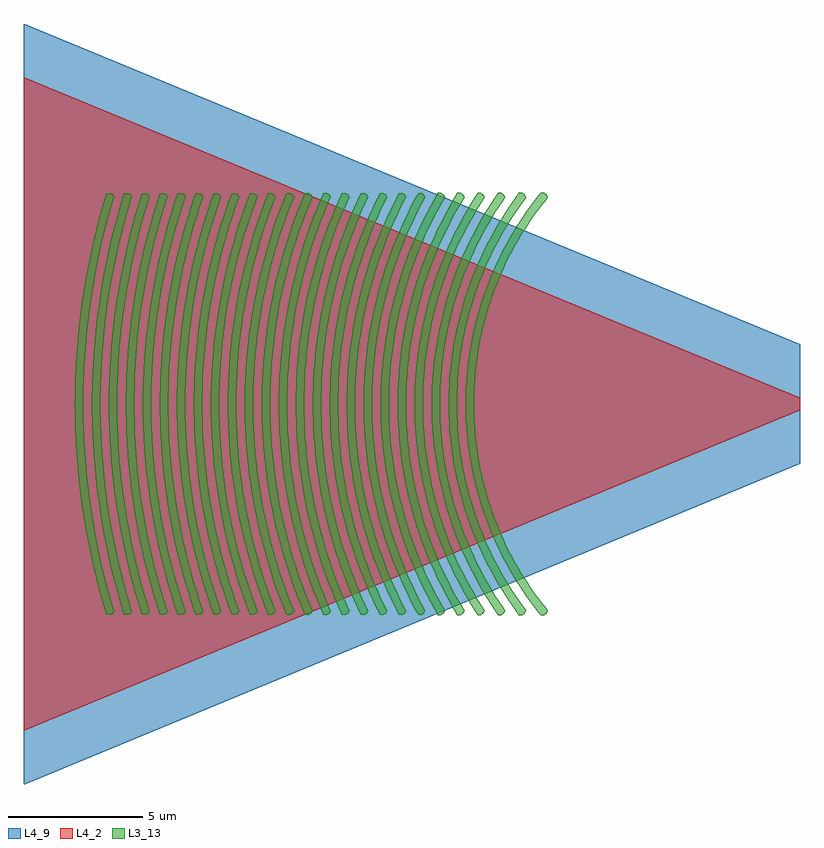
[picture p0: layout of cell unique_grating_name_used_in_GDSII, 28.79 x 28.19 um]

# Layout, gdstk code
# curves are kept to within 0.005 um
import gdstk
lib = gdstk.Library(unit=1e-6, precision=5e-09)
def P(c, l, *ps):  # polygons
    for p in ps: c.add(gdstk.Polygon(p, *l))
L3_13 = (3, 13)
L4_2 = (4, 2)
L4_9 = (4, 9)

unique_grating_name_used = lib.new_cell('unique_grating_name_used_in_GDSII_socket')
P(unique_grating_name_used, L4_2, [(20,-0.225),(20,0.225),(-8.74,12.095),(-8.79,12.095),(-8.79,-12.095),(-8.74,-12.095)])
P(unique_grating_name_used, L4_9, [(20,-2.225),(20,-0.225),(20,0.225),(20,2.225),(-8.74,14.095),(-8.79,14.095),(-8.79,12.095),(-8.79,-12.095),(-8.79,-14.095),(-8.74,-14.095)])

c_unique_grating_name_used = lib.new_cell('unique_grating_name_used_in_GDSII_grating')
P(c_unique_grating_name_used, L3_13, [(10.6,7.76),(10.635,7.65),(10.375,7.32),(10.125,6.985),(9.89,6.635),(9.665,6.28),(9.455,5.92),(9.255,5.55),(9.07,5.175),(8.815,4.6),(8.59,4.01),(8.46,3.615),(8.34,3.21),(8.235,2.805),(8.105,2.19),(8.01,1.57),(7.96,1.15),(7.93,0.735),(7.91,0.315),(7.91,-0.315),(7.93,-0.735),(7.96,-1.15),(8.01,-1.57),(8.105,-2.19),(8.235,-2.805),(8.34,-3.21),(8.46,-3.615),(8.59,-4.01),(8.815,-4.6),(9.07,-5.175),(9.255,-5.55),(9.455,-5.92),(9.665,-6.28),(9.89,-6.635),(10.125,-6.985),(10.375,-7.32),(10.635,-7.65),(10.6,-7.76),(10.505,-7.835),(10.39,-7.85),(9.995,-7.34),(9.75,-6.99),(9.51,-6.63),(9.18,-6.075),(9.075,-5.885),(8.88,-5.505),(8.695,-5.115),(8.445,-4.52),(8.225,-3.915),(8.095,-3.5),(7.93,-2.88),(7.84,-2.46),(7.725,-1.82),(7.67,-1.395),(7.615,-0.755),(7.595,-0.325),(7.595,0.325),(7.615,0.755),(7.67,1.395),(7.725,1.82),(7.84,2.46),(7.93,2.88),(8.095,3.5),(8.295,4.115),(8.525,4.72),(8.785,5.31),(9.075,5.885),(9.18,6.075),(9.51,6.63),(9.75,6.99),(9.995,7.34),(10.39,7.85),(10.505,7.835)],
  [(9.795,7.765),(9.84,7.655),(9.45,7.115),(9.21,6.74),(8.98,6.36),(8.665,5.775),(8.375,5.175),(8.12,4.56),(7.97,4.14),(7.835,3.72),(7.71,3.29),(7.555,2.645),(7.47,2.21),(7.4,1.77),(7.345,1.33),(7.295,0.665),(7.28,0.22),(7.28,-0.22),(7.295,-0.665),(7.325,-1.11),(7.37,-1.55),(7.47,-2.21),(7.555,-2.645),(7.655,-3.075),(7.77,-3.505),(7.9,-3.93),(8.12,-4.56),(8.375,-5.175),(8.565,-5.575),(8.87,-6.165),(9.21,-6.74),(9.45,-7.115),(9.84,-7.655),(9.795,-7.765),(9.7,-7.835),(9.585,-7.845),(9.19,-7.29),(8.945,-6.91),(8.595,-6.32),(8.385,-5.92),(8.185,-5.51),(7.91,-4.885),(7.75,-4.46),(7.6,-4.03),(7.465,-3.595),(7.35,-3.155),(7.245,-2.71),(7.16,-2.265),(7.06,-1.59),(7.01,-1.135),(6.97,-0.455),(6.96,0),(6.97,0.455),(7.01,1.135),(7.06,1.59),(7.16,2.265),(7.245,2.71),(7.405,3.375),(7.53,3.81),(7.75,4.46),(7.91,4.885),(8.28,5.715),(8.595,6.32),(8.945,6.91),(9.19,7.29),(9.585,7.845),(9.7,7.835)],
  [(9.015,7.765),(9.065,7.66),(8.805,7.28),(8.56,6.89),(8.22,6.29),(8.01,5.88),(7.815,5.465),(7.635,5.04),(7.47,4.615),(7.32,4.18),(7.18,3.74),(7.06,3.3),(6.955,2.85),(6.825,2.175),(6.76,1.72),(6.705,1.26),(6.67,0.805),(6.65,0.345),(6.65,-0.345),(6.67,-0.805),(6.73,-1.49),(6.79,-1.945),(6.865,-2.4),(6.955,-2.85),(7.06,-3.3),(7.18,-3.74),(7.39,-4.395),(7.55,-4.83),(7.815,-5.465),(8.01,-5.88),(8.33,-6.49),(8.68,-7.085),(9.065,-7.66),(9.015,-7.765),(8.92,-7.835),(8.805,-7.84),(8.54,-7.45),(8.29,-7.05),(8.055,-6.645),(7.73,-6.02),(7.53,-5.595),(7.255,-4.945),(7.02,-4.28),(6.88,-3.83),(6.755,-3.375),(6.6,-2.685),(6.515,-2.225),(6.445,-1.76),(6.355,-0.825),(6.335,-0.355),(6.335,0.355),(6.355,0.825),(6.395,1.29),(6.445,1.76),(6.555,2.455),(6.7,3.145),(6.815,3.605),(7.02,4.28),(7.175,4.725),(7.255,4.945),(7.435,5.38),(7.73,6.02),(8.055,6.645),(8.29,7.05),(8.54,7.45),(8.805,7.84),(8.92,7.835)],
  [(8.255,7.77),(8.305,7.665),(8.045,7.255),(7.8,6.835),(7.465,6.195),(7.255,5.755),(6.975,5.085),(6.805,4.63),(6.655,4.175),(6.455,3.475),(6.345,3.005),(6.205,2.29),(6.135,1.81),(6.08,1.33),(6.06,1.09),(6.02,0.365),(6.02,-0.365),(6.03,-0.605),(6.06,-1.09),(6.105,-1.57),(6.205,-2.29),(6.345,-3.005),(6.455,-3.475),(6.655,-4.175),(6.805,-4.63),(6.975,-5.085),(7.255,-5.755),(7.465,-6.195),(7.8,-6.835),(8.045,-7.255),(8.305,-7.665),(8.255,-7.77),(8.155,-7.835),(8.04,-7.835),(7.775,-7.42),(7.41,-6.775),(7.18,-6.335),(6.97,-5.885),(6.68,-5.2),(6.51,-4.735),(6.28,-4.03),(6.15,-3.55),(6.035,-3.07),(5.985,-2.83),(5.855,-2.095),(5.765,-1.36),(5.745,-1.115),(5.705,-0.37),(5.705,0.37),(5.715,0.62),(5.765,1.36),(5.855,2.095),(5.985,2.83),(6.09,3.31),(6.28,4.03),(6.51,4.735),(6.68,5.2),(6.97,5.885),(7.18,6.335),(7.41,6.775),(7.65,7.205),(7.775,7.42),(8.04,7.835),(8.155,7.835)],
  [(7.51,7.77),(7.56,7.67),(7.305,7.235),(7.06,6.79),(6.725,6.11),(6.525,5.65),(6.335,5.18),(6.165,4.705),(6.085,4.47),(5.94,3.985),(5.81,3.495),(5.7,3.005),(5.605,2.51),(5.525,2.01),(5.465,1.51),(5.42,1.01),(5.395,0.505),(5.39,0.25),(5.39,-0.25),(5.405,-0.755),(5.42,-1.01),(5.465,-1.51),(5.525,-2.01),(5.605,-2.51),(5.7,-3.005),(5.81,-3.495),(5.94,-3.985),(6.085,-4.47),(6.335,-5.18),(6.525,-5.65),(6.725,-6.11),(7.06,-6.79),(7.18,-7.015),(7.56,-7.67),(7.51,-7.77),(7.405,-7.83),(7.29,-7.83),(7.03,-7.39),(6.78,-6.935),(6.44,-6.245),(6.135,-5.535),(5.87,-4.81),(5.71,-4.32),(5.57,-3.82),(5.445,-3.32),(5.34,-2.815),(5.25,-2.31),(5.15,-1.545),(5.08,-0.515),(5.07,0),(5.08,0.515),(5.15,1.545),(5.25,2.31),(5.34,2.815),(5.445,3.32),(5.57,3.82),(5.785,4.565),(6.135,5.535),(6.44,6.245),(6.78,6.935),(7.03,7.39),(7.29,7.83),(7.405,7.83)],
  [(6.775,7.77),(6.83,7.67),(6.57,7.21),(6.33,6.74),(6.105,6.265),(5.895,5.78),(5.705,5.29),(5.53,4.795),(5.3,4.035),(5.11,3.27),(4.92,2.23),(4.825,1.445),(4.805,1.185),(4.77,0.66),(4.76,0.13),(4.77,-0.66),(4.825,-1.445),(4.92,-2.23),(5.11,-3.27),(5.3,-4.035),(5.45,-4.54),(5.615,-5.04),(5.895,-5.78),(6.105,-6.265),(6.33,-6.74),(6.57,-7.21),(6.83,-7.67),(6.775,-7.77),(6.67,-7.83),(6.555,-7.83),(6.295,-7.36),(6.045,-6.88),(5.93,-6.64),(5.605,-5.9),(5.41,-5.4),(5.23,-4.89),(5.07,-4.38),(4.93,-3.86),(4.805,-3.335),(4.65,-2.545),(4.54,-1.745),(4.49,-1.21),(4.455,-0.67),(4.445,0.135),(4.455,0.67),(4.49,1.21),(4.54,1.745),(4.61,2.28),(4.65,2.545),(4.805,3.335),(4.93,3.86),(5.07,4.38),(5.23,4.89),(5.505,5.65),(5.71,6.15),(6.045,6.88),(6.295,7.36),(6.555,7.83),(6.67,7.83)],
  [(6.05,7.775),(6.105,7.675),(5.845,7.185),(5.49,6.44),(5.275,5.93),(5.08,5.415),(4.985,5.155),(4.815,4.625),(4.595,3.83),(4.415,3.02),(4.365,2.75),(4.28,2.2),(4.215,1.655),(4.165,1.105),(4.135,0.55),(4.13,0.275),(4.135,-0.55),(4.165,-1.105),(4.215,-1.655),(4.28,-2.2),(4.365,-2.75),(4.53,-3.56),(4.665,-4.095),(4.815,-4.625),(4.985,-5.155),(5.175,-5.67),(5.38,-6.185),(5.605,-6.69),(5.845,-7.185),(6.105,-7.675),(6.05,-7.775),(5.945,-7.83),(5.83,-7.825),(5.695,-7.58),(5.44,-7.075),(5.09,-6.305),(4.88,-5.785),(4.69,-5.255),(4.515,-4.72),(4.36,-4.175),(4.225,-3.63),(4.055,-2.805),(3.93,-1.965),(3.85,-1.125),(3.82,-0.565),(3.81,0),(3.82,0.565),(3.85,1.125),(3.93,1.965),(4.055,2.805),(4.165,3.355),(4.29,3.905),(4.435,4.45),(4.6,4.99),(4.88,5.785),(5.09,6.305),(5.44,7.075),(5.565,7.33),(5.83,7.825),(5.945,7.83)],
  [(5.335,7.775),(5.39,7.68),(5.135,7.165),(4.895,6.65),(4.57,5.86),(4.38,5.32),(4.205,4.78),(4.125,4.505),(3.91,3.675),(3.795,3.12),(3.695,2.555),(3.585,1.71),(3.535,1.14),(3.505,0.57),(3.5,0.285),(3.505,-0.57),(3.535,-1.14),(3.585,-1.71),(3.695,-2.555),(3.85,-3.4),(3.91,-3.675),(4.05,-4.23),(4.205,-4.78),(4.38,-5.32),(4.57,-5.86),(4.895,-6.65),(5.135,-7.165),(5.39,-7.68),(5.335,-7.775),(5.225,-7.83),(5.11,-7.82),(4.85,-7.305),(4.495,-6.51),(4.28,-5.97),(4.08,-5.425),(3.82,-4.59),(3.67,-4.03),(3.485,-3.175),(3.385,-2.605),(3.305,-2.03),(3.245,-1.45),(3.205,-0.87),(3.18,0),(3.205,0.87),(3.245,1.45),(3.305,2.03),(3.385,2.605),(3.485,3.175),(3.605,3.745),(3.67,4.03),(3.82,4.59),(3.99,5.145),(4.175,5.695),(4.495,6.51),(4.85,7.305),(5.11,7.82),(5.225,7.83)],
  [(4.625,7.775),(4.685,7.68),(4.43,7.15),(4.31,6.88),(4.08,6.335),(3.875,5.785),(3.775,5.505),(3.595,4.945),(3.435,4.375),(3.295,3.8),(3.23,3.515),(3.12,2.935),(2.99,2.06),(2.93,1.475),(2.89,0.885),(2.87,0.295),(2.87,-0.295),(2.89,-0.885),(2.93,-1.475),(2.99,-2.06),(3.03,-2.35),(3.12,-2.935),(3.23,-3.515),(3.435,-4.375),(3.595,-4.945),(3.775,-5.505),(4.08,-6.335),(4.43,-7.15),(4.685,-7.68),(4.625,-7.775),(4.515,-7.83),(4.405,-7.82),(4.27,-7.55),(3.9,-6.73),(3.68,-6.17),(3.475,-5.605),(3.21,-4.745),(3.055,-4.165),(2.925,-3.58),(2.81,-2.99),(2.76,-2.69),(2.68,-2.095),(2.615,-1.5),(2.575,-0.9),(2.55,0),(2.575,0.9),(2.615,1.5),(2.68,2.095),(2.76,2.69),(2.865,3.285),(3.055,4.165),(3.13,4.455),(3.295,5.035),(3.475,5.605),(3.68,6.17),(3.9,6.73),(4.02,7.005),(4.27,7.55),(4.405,7.82),(4.515,7.83)],
  [(3.92,7.78),(3.985,7.685),(3.61,6.845),(3.495,6.565),(3.28,5.99),(3.08,5.41),(2.99,5.12),(2.825,4.53),(2.68,3.94),(2.5,3.04),(2.45,2.74),(2.365,2.135),(2.33,1.83),(2.28,1.22),(2.26,0.915),(2.24,0.305),(2.24,-0.305),(2.26,-0.915),(2.33,-1.83),(2.365,-2.135),(2.45,-2.74),(2.555,-3.34),(2.68,-3.94),(2.75,-4.235),(2.905,-4.825),(3.08,-5.41),(3.28,-5.99),(3.495,-6.565),(3.73,-7.125),(3.985,-7.685),(3.92,-7.78),(3.815,-7.83),(3.7,-7.815),(3.44,-7.255),(3.2,-6.68),(2.98,-6.095),(2.78,-5.51),(2.52,-4.615),(2.445,-4.31),(2.305,-3.705),(2.245,-3.4),(2.14,-2.785),(2.055,-2.17),(1.99,-1.555),(1.945,-0.93),(1.92,0),(1.945,0.93),(1.965,1.245),(2.02,1.86),(2.095,2.48),(2.19,3.095),(2.305,3.705),(2.52,4.615),(2.78,5.51),(2.98,6.095),(3.2,6.68),(3.44,7.255),(3.7,7.815),(3.815,7.83)],
  [(3.225,7.78),(3.29,7.685),(3.035,7.105),(2.915,6.81),(2.8,6.515),(2.585,5.92),(2.39,5.315),(2.22,4.705),(2.14,4.395),(2,3.78),(1.88,3.155),(1.78,2.53),(1.74,2.215),(1.675,1.585),(1.65,1.265),(1.63,0.95),(1.61,0.315),(1.61,-0.315),(1.63,-0.95),(1.675,-1.585),(1.78,-2.53),(1.935,-3.465),(2.14,-4.395),(2.39,-5.315),(2.485,-5.615),(2.585,-5.92),(2.8,-6.515),(3.035,-7.105),(3.29,-7.685),(3.225,-7.78),(3.115,-7.83),(3.005,-7.815),(2.745,-7.225),(2.505,-6.625),(2.285,-6.02),(2.09,-5.405),(1.915,-4.785),(1.76,-4.16),(1.69,-3.845),(1.515,-2.89),(1.39,-1.93),(1.335,-1.29),(1.305,-0.645),(1.29,0),(1.305,0.645),(1.335,1.29),(1.39,1.93),(1.47,2.57),(1.57,3.21),(1.69,3.845),(1.835,4.47),(2,5.095),(2.185,5.715),(2.285,6.02),(2.505,6.625),(2.745,7.225),(3.005,7.815),(3.115,7.83)],
  [(2.535,7.78),(2.6,7.69),(2.345,7.08),(2.225,6.77),(2.11,6.465),(1.895,5.84),(1.795,5.525),(1.615,4.89),(1.385,3.93),(1.26,3.28),(1.115,2.3),(1.08,1.975),(1.025,1.32),(0.98,0.33),(0.98,-0.33),(0.99,-0.66),(1.025,-1.32),(1.05,-1.645),(1.115,-2.3),(1.26,-3.28),(1.385,-3.93),(1.535,-4.57),(1.615,-4.89),(1.795,-5.525),(1.895,-5.84),(2.11,-6.465),(2.345,-7.08),(2.6,-7.69),(2.535,-7.78),(2.425,-7.83),(2.31,-7.81),(2.05,-7.195),(1.7,-6.255),(1.4,-5.295),(1.31,-4.97),(1.15,-4.32),(0.95,-3.335),(0.895,-3.005),(0.765,-2.005),(0.735,-1.675),(0.69,-1.005),(0.66,0),(0.69,1.005),(0.735,1.675),(0.765,2.005),(0.895,3.005),(0.95,3.335),(1.15,4.32),(1.31,4.97),(1.4,5.295),(1.595,5.935),(1.7,6.255),(2.05,7.195),(2.31,7.81),(2.425,7.83)],
  [(1.845,7.78),(1.915,7.69),(1.66,7.065),(1.43,6.435),(1.22,5.795),(1.125,5.475),(0.95,4.825),(0.87,4.5),(0.725,3.84),(0.605,3.18),(0.555,2.845),(0.51,2.515),(0.435,1.845),(0.405,1.51),(0.365,0.84),(0.35,0.17),(0.35,-0.17),(0.365,-0.84),(0.405,-1.51),(0.51,-2.515),(0.605,-3.18),(0.725,-3.84),(0.795,-4.17),(0.95,-4.825),(1.125,-5.475),(1.22,-5.795),(1.43,-6.435),(1.66,-7.065),(1.915,-7.69),(1.845,-7.78),(1.735,-7.83),(1.625,-7.81),(1.245,-6.86),(1.025,-6.215),(0.82,-5.56),(0.56,-4.57),(0.485,-4.235),(0.295,-3.23),(0.195,-2.555),(0.12,-1.875),(0.09,-1.535),(0.05,-0.855),(0.035,0.17),(0.05,0.855),(0.09,1.535),(0.195,2.555),(0.295,3.23),(0.355,3.565),(0.485,4.235),(0.56,4.57),(0.73,5.23),(0.92,5.89),(1.245,6.86),(1.495,7.495),(1.625,7.81),(1.735,7.83)],
  [(1.165,7.785),(1.23,7.69),(0.975,7.035),(0.745,6.375),(0.535,5.705),(0.44,5.37),(0.265,4.69),(0.115,4.005),(-0.065,2.97),(-0.155,2.275),(-0.245,1.225),(-0.265,0.875),(-0.28,0.175),(-0.265,-0.875),(-0.22,-1.575),(-0.155,-2.275),(-0.065,-2.97),(-0.01,-3.315),(0.115,-4.005),(0.19,-4.35),(0.265,-4.69),(0.44,-5.37),(0.535,-5.705),(0.745,-6.375),(0.975,-7.035),(1.23,-7.69),(1.165,-7.785),(1.055,-7.83),(0.94,-7.81),(0.68,-7.145),(0.56,-6.81),(0.445,-6.475),(0.135,-5.45),(0.045,-5.11),(-0.12,-4.415),(-0.26,-3.72),(-0.32,-3.365),(-0.425,-2.665),(-0.47,-2.31),(-0.535,-1.6),(-0.58,-0.89),(-0.595,-0.18),(-0.595,0.18),(-0.58,0.89),(-0.56,1.245),(-0.47,2.31),(-0.375,3.015),(-0.26,3.72),(-0.12,4.415),(-0.04,4.765),(0.135,5.45),(0.445,6.475),(0.68,7.145),(0.94,7.81),(1.055,7.83)],
  [(0.485,7.785),(0.555,7.695),(0.3,7.02),(-0.035,6),(-0.135,5.655),(-0.315,4.965),(-0.475,4.265),(-0.545,3.915),(-0.665,3.21),(-0.8,2.145),(-0.865,1.43),(-0.885,1.075),(-0.91,0.36),(-0.91,-0.36),(-0.885,-1.075),(-0.865,-1.43),(-0.8,-2.145),(-0.665,-3.21),(-0.545,-3.915),(-0.475,-4.265),(-0.315,-4.965),(-0.135,-5.655),(-0.035,-6),(0.185,-6.685),(0.3,-7.02),(0.555,-7.695),(0.485,-7.785),(0.375,-7.83),(0.26,-7.805),(0.13,-7.47),(-0.115,-6.785),(-0.335,-6.09),(-0.435,-5.745),(-0.62,-5.04),(-0.78,-4.33),(-0.85,-3.975),(-0.975,-3.26),(-1.03,-2.9),(-1.115,-2.175),(-1.18,-1.455),(-1.2,-1.09),(-1.225,-0.365),(-1.23,0),(-1.215,0.725),(-1.18,1.455),(-1.075,2.54),(-1.03,2.9),(-0.915,3.615),(-0.85,3.975),(-0.705,4.685),(-0.53,5.39),(-0.335,6.09),(-0.115,6.785),(0.13,7.47),(0.26,7.805),(0.375,7.83)],
  [(-0.19,7.785),(-0.12,7.695),(-0.255,7.345),(-0.495,6.635),(-0.61,6.275),(-0.815,5.555),(-0.995,4.83),(-1.075,4.465),(-1.22,3.73),(-1.335,2.985),(-1.425,2.245),(-1.515,1.125),(-1.54,0.375),(-1.54,-0.375),(-1.53,-0.75),(-1.515,-1.125),(-1.49,-1.495),(-1.425,-2.245),(-1.385,-2.615),(-1.28,-3.36),(-1.22,-3.73),(-1.075,-4.465),(-0.995,-4.83),(-0.815,-5.555),(-0.61,-6.275),(-0.495,-6.635),(-0.255,-7.345),(-0.12,-7.695),(-0.19,-7.785),(-0.305,-7.825),(-0.415,-7.805),(-0.55,-7.45),(-0.675,-7.09),(-0.91,-6.37),(-1.12,-5.635),(-1.215,-5.27),(-1.385,-4.53),(-1.46,-4.155),(-1.59,-3.405),(-1.695,-2.655),(-1.74,-2.275),(-1.775,-1.9),(-1.83,-1.14),(-1.86,0),(-1.83,1.14),(-1.775,1.9),(-1.74,2.275),(-1.695,2.655),(-1.59,3.405),(-1.53,3.78),(-1.385,4.53),(-1.215,5.27),(-1.015,6.005),(-0.91,6.37),(-0.795,6.73),(-0.55,7.45),(-0.415,7.805),(-0.305,7.825)],
  [(-0.865,7.785),(-0.795,7.695),(-1.05,6.97),(-1.275,6.24),(-1.38,5.87),(-1.57,5.13),(-1.81,4.005),(-1.935,3.245),(-2.035,2.485),(-2.105,1.725),(-2.13,1.34),(-2.165,0.575),(-2.17,0.19),(-2.165,-0.575),(-2.15,-0.96),(-2.105,-1.725),(-2.035,-2.485),(-1.935,-3.245),(-1.81,-4.005),(-1.735,-4.38),(-1.57,-5.13),(-1.48,-5.5),(-1.275,-6.24),(-1.165,-6.605),(-1.05,-6.97),(-0.795,-7.695),(-0.865,-7.785),(-0.98,-7.825),(-1.09,-7.805),(-1.345,-7.07),(-1.58,-6.33),(-1.785,-5.58),(-1.88,-5.2),(-2.12,-4.06),(-2.245,-3.295),(-2.3,-2.91),(-2.42,-1.75),(-2.48,-0.585),(-2.485,0.195),(-2.48,0.585),(-2.445,1.36),(-2.42,1.75),(-2.345,2.52),(-2.3,2.91),(-2.185,3.675),(-2.12,4.06),(-1.965,4.82),(-1.785,5.58),(-1.58,6.33),(-1.345,7.07),(-1.09,7.805),(-0.98,7.825)],
  [(-1.535,7.785),(-1.465,7.7),(-1.595,7.325),(-1.835,6.58),(-2.045,5.825),(-2.145,5.445),(-2.32,4.675),(-2.465,3.905),(-2.53,3.52),(-2.585,3.13),(-2.72,1.96),(-2.75,1.57),(-2.79,0.785),(-2.8,0.395),(-2.8,-0.395),(-2.79,-0.785),(-2.75,-1.57),(-2.68,-2.35),(-2.585,-3.13),(-2.53,-3.52),(-2.395,-4.29),(-2.32,-4.675),(-2.145,-5.445),(-1.945,-6.2),(-1.835,-6.58),(-1.595,-7.325),(-1.465,-7.7),(-1.535,-7.785),(-1.65,-7.825),(-1.76,-7.8),(-2.015,-7.05),(-2.135,-6.67),(-2.35,-5.905),(-2.45,-5.52),(-2.705,-4.35),(-2.775,-3.96),(-2.9,-3.175),(-2.995,-2.385),(-3.065,-1.59),(-3.105,-0.795),(-3.12,0),(-3.105,0.795),(-3.065,1.59),(-2.995,2.385),(-2.9,3.175),(-2.775,3.96),(-2.705,4.35),(-2.54,5.13),(-2.45,5.52),(-2.35,5.905),(-2.135,6.67),(-1.89,7.425),(-1.76,7.8),(-1.65,7.825)],
  [(-2.205,7.79),(-2.13,7.7),(-2.385,6.935),(-2.61,6.16),(-2.71,5.775),(-2.895,4.99),(-3.055,4.2),(-3.185,3.405),(-3.24,3.01),(-3.33,2.21),(-3.365,1.81),(-3.41,1.005),(-3.425,0.605),(-3.43,0.2),(-3.425,-0.605),(-3.39,-1.405),(-3.365,-1.81),(-3.33,-2.21),(-3.24,-3.01),(-3.185,-3.405),(-3.055,-4.2),(-2.895,-4.99),(-2.805,-5.38),(-2.61,-6.16),(-2.5,-6.55),(-2.385,-6.935),(-2.13,-7.7),(-2.205,-7.79),(-2.32,-7.825),(-2.43,-7.8),(-2.685,-7.025),(-2.8,-6.635),(-2.91,-6.245),(-3.115,-5.455),(-3.205,-5.055),(-3.365,-4.255),(-3.495,-3.455),(-3.55,-3.05),(-3.6,-2.645),(-3.675,-1.835),(-3.705,-1.425),(-3.74,-0.61),(-3.745,0.205),(-3.74,0.61),(-3.705,1.425),(-3.675,1.835),(-3.6,2.645),(-3.495,3.455),(-3.365,4.255),(-3.205,5.055),(-3.115,5.455),(-3.015,5.85),(-2.8,6.635),(-2.685,7.025),(-2.43,7.8),(-2.32,7.825)],
  [(-2.87,7.79),(-2.795,7.7),(-3.05,6.915),(-3.165,6.52),(-3.375,5.72),(-3.555,4.915),(-3.71,4.105),(-3.775,3.7),(-3.89,2.88),(-3.975,2.06),(-4.03,1.235),(-4.05,0.825),(-4.06,0.41),(-4.06,-0.41),(-4.05,-0.825),(-4.03,-1.235),(-3.975,-2.06),(-3.89,-2.88),(-3.775,-3.7),(-3.71,-4.105),(-3.555,-4.915),(-3.375,-5.72),(-3.165,-6.52),(-3.05,-6.915),(-2.795,-7.7),(-2.87,-7.79),(-2.985,-7.825),(-3.095,-7.8),(-3.35,-7.005),(-3.465,-6.605),(-3.68,-5.795),(-3.775,-5.39),(-3.865,-4.98),(-4.02,-4.16),(-4.15,-3.335),(-4.25,-2.505),(-4.29,-2.085),(-4.345,-1.255),(-4.365,-0.835),(-4.38,0),(-4.365,0.835),(-4.345,1.255),(-4.29,2.085),(-4.25,2.505),(-4.15,3.335),(-4.09,3.745),(-3.945,4.57),(-3.775,5.39),(-3.575,6.2),(-3.35,7.005),(-3.095,7.8),(-2.985,7.825)],
  [(-3.535,7.79),(-3.46,7.7),(-3.59,7.3),(-3.825,6.485),(-4.035,5.665),(-4.13,5.25),(-4.295,4.42),(-4.43,3.585),(-4.54,2.745),(-4.62,1.905),(-4.67,1.06),(-4.69,0.21),(-4.685,-0.635),(-4.65,-1.48),(-4.585,-2.325),(-4.49,-3.165),(-4.365,-4.005),(-4.295,-4.42),(-4.13,-5.25),(-3.935,-6.075),(-3.825,-6.485),(-3.59,-7.3),(-3.46,-7.7),(-3.535,-7.79),(-3.65,-7.825),(-3.76,-7.8),(-4.015,-6.98),(-4.24,-6.155),(-4.34,-5.735),(-4.525,-4.9),(-4.605,-4.475),(-4.675,-4.055),(-4.8,-3.205),(-4.895,-2.355),(-4.935,-1.925),(-4.965,-1.5),(-5,-0.645),(-5.005,0.215),(-5,0.645),(-4.965,1.5),(-4.895,2.355),(-4.8,3.205),(-4.74,3.63),(-4.605,4.475),(-4.525,4.9),(-4.435,5.32),(-4.24,6.155),(-4.015,6.98),(-3.76,7.8),(-3.65,7.825)],
  [(-4.2,7.79),(-4.12,7.705),(-4.375,6.87),(-4.595,6.03),(-4.695,5.605),(-4.87,4.755),(-5.02,3.895),(-5.14,3.035),(-5.19,2.605),(-5.23,2.17),(-5.265,1.74),(-5.29,1.305),(-5.32,0.435),(-5.32,-0.435),(-5.29,-1.305),(-5.265,-1.74),(-5.23,-2.17),(-5.19,-2.605),(-5.14,-3.035),(-5.085,-3.465),(-4.95,-4.325),(-4.87,-4.755),(-4.695,-5.605),(-4.595,-6.03),(-4.375,-6.87),(-4.12,-7.705),(-4.2,-7.79),(-4.31,-7.825),(-4.425,-7.795),(-4.675,-6.955),(-4.9,-6.105),(-5,-5.675),(-5.095,-5.245),(-5.26,-4.38),(-5.455,-3.075),(-5.545,-2.2),(-5.605,-1.32),(-5.635,-0.44),(-5.64,0),(-5.635,0.44),(-5.605,1.32),(-5.545,2.2),(-5.455,3.075),(-5.395,3.51),(-5.26,4.38),(-5.18,4.815),(-5.095,5.245),(-4.9,6.105),(-4.675,6.955),(-4.425,7.795),(-4.31,7.825)],
  [(-4.86,7.79),(-4.785,7.705),(-5.035,6.845),(-5.15,6.415),(-5.355,5.545),(-5.53,4.665),(-5.675,3.785),(-5.79,2.9),(-5.875,2.01),(-5.93,1.115),(-5.95,0.225),(-5.945,-0.67),(-5.93,-1.115),(-5.875,-2.01),(-5.79,-2.9),(-5.675,-3.785),(-5.605,-4.225),(-5.53,-4.665),(-5.355,-5.545),(-5.15,-6.415),(-5.035,-6.845),(-4.785,-7.705),(-4.86,-7.79),(-4.975,-7.825),(-5.085,-7.795),(-5.215,-7.365),(-5.455,-6.49),(-5.755,-5.17),(-5.915,-4.28),(-6.05,-3.385),(-6.105,-2.935),(-6.19,-2.035),(-6.245,-1.13),(-6.26,-0.68),(-6.265,0.225),(-6.26,0.68),(-6.245,1.13),(-6.19,2.035),(-6.15,2.485),(-6.05,3.385),(-5.915,4.28),(-5.84,4.725),(-5.755,5.17),(-5.66,5.61),(-5.455,6.49),(-5.215,7.365),(-5.085,7.795),(-4.975,7.825)],
  [(-5.52,7.79),(-5.44,7.705),(-5.695,6.82),(-5.915,5.925),(-6.105,5.025),(-6.185,4.575),(-6.33,3.665),(-6.39,3.21),(-6.485,2.295),(-6.52,1.84),(-6.545,1.38),(-6.58,0.46),(-6.58,-0.46),(-6.545,-1.38),(-6.52,-1.84),(-6.485,-2.295),(-6.39,-3.21),(-6.33,-3.665),(-6.185,-4.575),(-6.105,-5.025),(-6.01,-5.48),(-5.915,-5.925),(-5.695,-6.82),(-5.44,-7.705),(-5.52,-7.79),(-5.635,-7.825),(-5.745,-7.795),(-5.875,-7.35),(-6.115,-6.45),(-6.32,-5.545),(-6.495,-4.63),(-6.57,-4.17),(-6.64,-3.71),(-6.755,-2.785),(-6.835,-1.86),(-6.88,-0.93),(-6.9,0),(-6.895,0.465),(-6.86,1.395),(-6.835,1.86),(-6.755,2.785),(-6.64,3.71),(-6.495,4.63),(-6.32,5.545),(-6.115,6.45),(-5.875,7.35),(-5.745,7.795),(-5.635,7.825)])

c_unique_grating_name_used_ = lib.new_cell('unique_grating_name_used_in_GDSII')
c_unique_grating_name_used_.add(gdstk.Reference(unique_grating_name_used, (0,0)))
c_unique_grating_name_used_.add(gdstk.Reference(c_unique_grating_name_used, (0,0)))

lib.write_gds('unique_grating_name_used_in_GDSII.gds')
